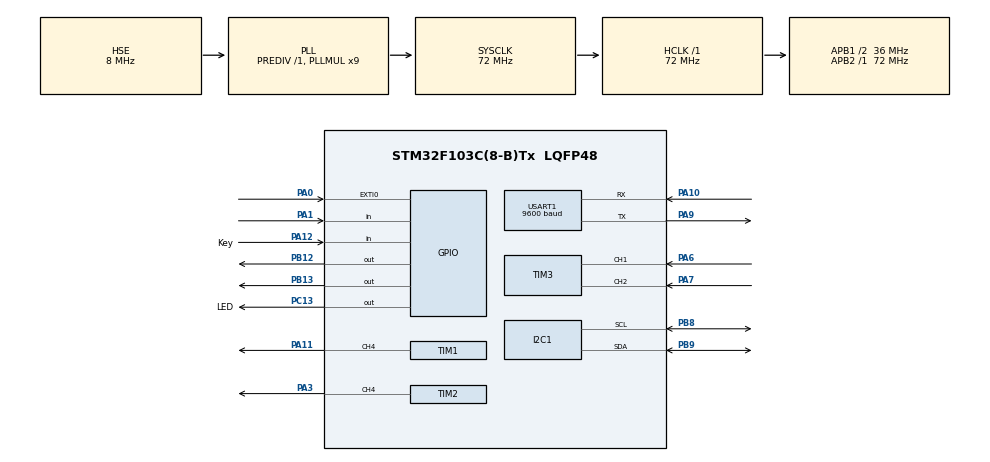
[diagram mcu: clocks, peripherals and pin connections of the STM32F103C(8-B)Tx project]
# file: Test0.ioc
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Dma.Request0=USART1_TX
Dma.USART1_TX.0.Direction=DMA_MEMORY_TO_PERIPH
Dma.USART1_TX.0.Instance=DMA1_Channel4
Dma.USART1_TX.0.MemDataAlignment=DMA_MDATAALIGN_BYTE
Dma.USART1_TX.0.MemInc=DMA_MINC_ENABLE
Dma.USART1_TX.0.Mode=DMA_NORMAL
Dma.USART1_TX.0.PeriphDataAlignment=DMA_PDATAALIGN_BYTE
Dma.USART1_TX.0.PeriphInc=DMA_PINC_DISABLE
Dma.USART1_TX.0.Priority=DMA_PRIORITY_LOW
Mcu.Family=STM32F1
Mcu.Name=STM32F103C(8-B)Tx
Mcu.Package=LQFP48
NVIC.DMA1_Channel4_IRQn=true\:0\:0\:false\:false\:true\:false\:true\:true
NVIC.EXTI0_IRQn=true\:0\:0\:false\:false\:true\:true\:true\:true
NVIC.PriorityGroup=NVIC_PRIORITYGROUP_4
NVIC.TIM2_IRQn=true\:0\:0\:false\:false\:true\:true\:true\:true
NVIC.TIM4_IRQn=true\:0\:0\:false\:false\:true\:true\:true\:true
NVIC.USART1_IRQn=true\:0\:0\:false\:false\:true\:true\:true\:true
PA0-WKUP.GPIO_ModeDefaultEXTI=GPIO_MODE_IT_FALLING
PA0-WKUP.GPIO_PuPd=GPIO_PULLUP
PA0-WKUP.Signal=GPXTI0
PA1.GPIO_PuPd=GPIO_PULLUP
PA1.Signal=GPIO_Input
PA10.Mode=Asynchronous
PA10.Signal=USART1_RX
PA11.Signal=S_TIM1_CH4
PA12.GPIO_Label=Key
PA12.GPIO_PuPd=GPIO_PULLUP
PA12.Signal=GPIO_Input
PA13.Mode=Serial_Wire
PA13.Signal=SYS_JTMS-SWDIO
PA14.Mode=Serial_Wire
PA14.Signal=SYS_JTCK-SWCLK
PA3.Signal=S_TIM2_CH4
PA6.Signal=S_TIM3_CH1
PA7.Signal=S_TIM3_CH2
PA9.Mode=Asynchronous
PA9.Signal=USART1_TX
PB12.Signal=GPIO_Output
PB13.Signal=GPIO_Output
PB8.Mode=I2C
PB8.Signal=I2C1_SCL
PB9.Mode=I2C
PB9.Signal=I2C1_SDA
PC13-TAMPER-RTC.GPIO_Label=LED
PC13-TAMPER-RTC.PinState=GPIO_PIN_SET
PC13-TAMPER-RTC.Signal=GPIO_Output
PC14-OSC32_IN.Mode=LSE-External-Oscillator
PC14-OSC32_IN.Signal=RCC_OSC32_IN
PC15-OSC32_OUT.Mode=LSE-External-Oscillator
PC15-OSC32_OUT.Signal=RCC_OSC32_OUT
PD0-OSC_IN.Mode=HSE-External-Oscillator
PD0-OSC_IN.Signal=RCC_OSC_IN
PD1-OSC_OUT.Mode=HSE-External-Oscillator
PD1-OSC_OUT.Signal=RCC_OSC_OUT
ProjectManager.HeapSize=0x200
ProjectManager.StackSize=0x400
ProjectManager.TargetToolchain=MDK-ARM V5.32
RCC.AHBFreq_Value=72000000
RCC.APB1CLKDivider=RCC_HCLK_DIV2
RCC.APB1Freq_Value=36000000
RCC.APB1TimFreq_Value=72000000
RCC.APB2Freq_Value=72000000
RCC.APB2TimFreq_Value=72000000
RCC.HCLKFreq_Value=72000000
RCC.PLLMUL=RCC_PLL_MUL9
RCC.PLLSourceVirtual=RCC_PLLSOURCE_HSE
RCC.SYSCLKFreq_VALUE=72000000
RCC.SYSCLKSource=RCC_SYSCLKSOURCE_PLLCLK
RCC.USBFreq_Value=72000000
SH.S_TIM1_CH4.0=TIM1_CH4,PWM Generation4 CH4
SH.S_TIM2_CH4.0=TIM2_CH4,PWM Generation4 CH4
SH.S_TIM3_CH1.0=TIM3_CH1,Encoder_Interface
SH.S_TIM3_CH2.0=TIM3_CH2,Encoder_Interface
TIM1.Channel-PWM\ Generation4\ CH4=TIM_CHANNEL_4
TIM1.Period=7200
TIM2.Channel-PWM\ Generation4\ CH4=TIM_CHANNEL_4
TIM2.Period=999
TIM2.Prescaler=1440-1
TIM3.EncoderMode=TIM_ENCODERMODE_TI12
TIM4.AutoReloadPreload=TIM_AUTORELOAD_PRELOAD_ENABLE
TIM4.Period=50000-1
TIM4.Prescaler=72-1
USART1.BaudRate=9600
USART1.VirtualMode=VM_ASYNC
VP_TIM4_VS_ClockSourceINT.Mode=Internal
board=custom

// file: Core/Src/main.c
/* USER CODE BEGIN Header */
/**
  ******************************************************************************
  * @file           : main.c
  * @brief          : Main program body
  ******************************************************************************
  * @attention
  *
  * Copyright (c) 2026 STMicroelectronics.
  * All rights reserved.
  *
  * This software is licensed under terms that can be found in the LICENSE file
  * in the root directory of this software component.
  * If no LICENSE file comes with this software, it is provided AS-IS.
  *
  ******************************************************************************
  */
/* USER CODE END Header */
#include "main.h"
#include "dma.h"
#include "i2c.h"
#include "tim.h"
#include "usart.h"
#include "gpio.h"

/* USER CODE BEGIN Includes */
#include "OLED.h"
#include "SG09.h"
#include "Encoder.h"
#include "Menu.h"
#include "Motor.h"
#include "VOFA.h"
/* USER CODE END Includes */

void SystemClock_Config(void);

int main(void)
{

  /* MCU Configuration--------------------------------------------------------*/

  /* Reset of all peripherals, Initializes the Flash interface and the Systick. */
  HAL_Init();

  /* Configure the system clock */
  SystemClock_Config();

  /* Initialize all configured peripherals */
  MX_GPIO_Init();
  MX_DMA_Init();
  MX_TIM1_Init();
  MX_TIM2_Init();
  MX_TIM3_Init();
  MX_I2C1_Init();
  MX_USART1_UART_Init();
  MX_TIM4_Init();
  /* USER CODE BEGIN 2 */
	HAL_GPIO_TogglePin(LED_GPIO_Port,LED_Pin);
	HAL_UART_Receive_IT(&huart1,&rx_byte,1);

	SG09_Init();
	OLED_Init();
	OLED_Clear();
	Motor_Init();

	SG09_Start();
	uart_printf("Start!");

  /* USER CODE END 2 */

  /* Infinite loop */
  /* USER CODE BEGIN WHILE */
  while (1)
  {

		First_Set();
//		extern int16_t ccr;
//		int16_t angel = (ccr-25)/100 * 180;
//		OLED_ShowSignedNum(1,1,ccr,4,OLED_8X16);
//		OLED_ShowNum(1,17,angel,3,OLED_8X16);
//		OLED_ShowSignedNum(1,33,Encoder_State,1,OLED_8X16);
//		OLED_Update();
    /* USER CODE END WHILE */

  }
}

void SystemClock_Config(void)
{
  RCC_OscInitTypeDef RCC_OscInitStruct = {0};
  RCC_ClkInitTypeDef RCC_ClkInitStruct = {0};

  /** Initializes the RCC Oscillators according to the specified parameters
  * in the RCC_OscInitTypeDef structure.
  */
  RCC_OscInitStruct.OscillatorType = RCC_OSCILLATORTYPE_HSE;
  RCC_OscInitStruct.HSEState = RCC_HSE_ON;
  RCC_OscInitStruct.HSEPredivValue = RCC_HSE_PREDIV_DIV1;
  RCC_OscInitStruct.HSIState = RCC_HSI_ON;
  RCC_OscInitStruct.PLL.PLLState = RCC_PLL_ON;
  RCC_OscInitStruct.PLL.PLLSource = RCC_PLLSOURCE_HSE;
  RCC_OscInitStruct.PLL.PLLMUL = RCC_PLL_MUL9;
  if (HAL_RCC_OscConfig(&RCC_OscInitStruct) != HAL_OK)
  {
    Error_Handler();
  }

  /** Initializes the CPU, AHB and APB buses clocks
  */
  RCC_ClkInitStruct.ClockType = RCC_CLOCKTYPE_HCLK|RCC_CLOCKTYPE_SYSCLK
                              |RCC_CLOCKTYPE_PCLK1|RCC_CLOCKTYPE_PCLK2;
  RCC_ClkInitStruct.SYSCLKSource = RCC_SYSCLKSOURCE_PLLCLK;
  RCC_ClkInitStruct.AHBCLKDivider = RCC_SYSCLK_DIV1;
  RCC_ClkInitStruct.APB1CLKDivider = RCC_HCLK_DIV2;
  RCC_ClkInitStruct.APB2CLKDivider = RCC_HCLK_DIV1;

  if (HAL_RCC_ClockConfig(&RCC_ClkInitStruct, FLASH_LATENCY_2) != HAL_OK)
  {
    Error_Handler();
  }
}

void Error_Handler(void)
{
  __disable_irq();
  while (1)
  {
  }
}
